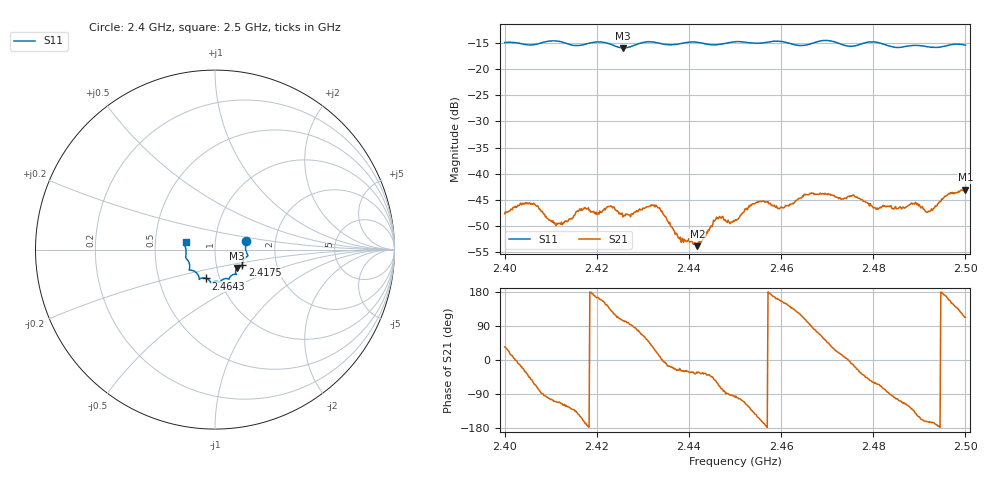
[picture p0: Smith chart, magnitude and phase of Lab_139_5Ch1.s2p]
# Hz S RI R 50
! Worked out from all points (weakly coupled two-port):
!   601 points, 2.4 GHz to 2.5 GHz, reference 50 ohm
!   highest |S21| = -43.05 dB at 2.5 GHz (marker M1); lowest = -53.9 dB at 2.4418 GHz (marker M2)
!   lowest |S11| = -15.9 dB at 2.4257 GHz (marker M3), VSWR 1.38, Z = 62.5 - j13.1 ohm
!   |S11| at or under -10 dB: start of sweep to end of sweep
!   S12 and S22 are empty: the file has one direction only
!   S11 on the Smith chart (normalised r, x): 2.4 GHz: 1.41, +0.14; 2.4175 GHz: 1.34, -0.23; 2.4643 GHz: 0.86, -0.28; 2.5 GHz: 0.72, +0.06
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2.4e9  0.1729 0.0488  0.0034 0.00235  0 0  0 0
2.405833e9  0.1703 0.00415  0.00319 -0.0041  0 0  0 0
2.411667e9  0.1814 -0.0365  -0.00126 -0.0031  0 0  0 0
2.416667e9  0.1529 -0.0742  -0.0041 -0.00212  0 0  0 0
2.4175e9  0.1518 -0.0837  -0.0046 -0.000978  0 0  0 0
2.42e9  0.1539 -0.0975  -0.00393 0.0011  0 0  0 0
2.423167e9  0.1441 -0.094  -0.00312 0.00377  0 0  0 0
2.425667e9  0.1228 -0.102  -0.000935 0.00376  0 0  0 0
2.433333e9  0.1132 -0.1372  0.00454 0.00121  0 0  0 0
2.438e9  0.0824 -0.1541  0.0022 -0.0009  0 0  0 0
2.441833e9  0.0751 -0.1645  0.00168 -0.00113  0 0  0 0
2.446167e9  0.0465 -0.165  0.00184 -0.00331  0 0  0 0
2.45e9  0.0291 -0.1808  -0.000508 -0.00355  0 0  0 0
2.455e9  0.00224 -0.1769  -0.00477 -0.00261  0 0  0 0
2.459833e9  -0.0243 -0.1831  -0.00434 0.00182  0 0  0 0
2.464333e9  -0.0499 -0.1607  -0.00273 0.00518  0 0  0 0
2.466667e9  -0.0755 -0.1591  0.000261 0.00655  0 0  0 0
2.483333e9  -0.1409 -0.0901  0.000287 -0.00488  0 0  0 0
2.489167e9  -0.1628 -0.0444  -0.00413 -0.00335  0 0  0 0
2.492e9  -0.1613 -0.0255  -0.00422 -0.00124  0 0  0 0
2.496333e9  -0.1679 0.0221  -0.006 0.00222  0 0  0 0
2.5e9  -0.164 0.0432  -0.00264 0.00652  0 0  0 0
